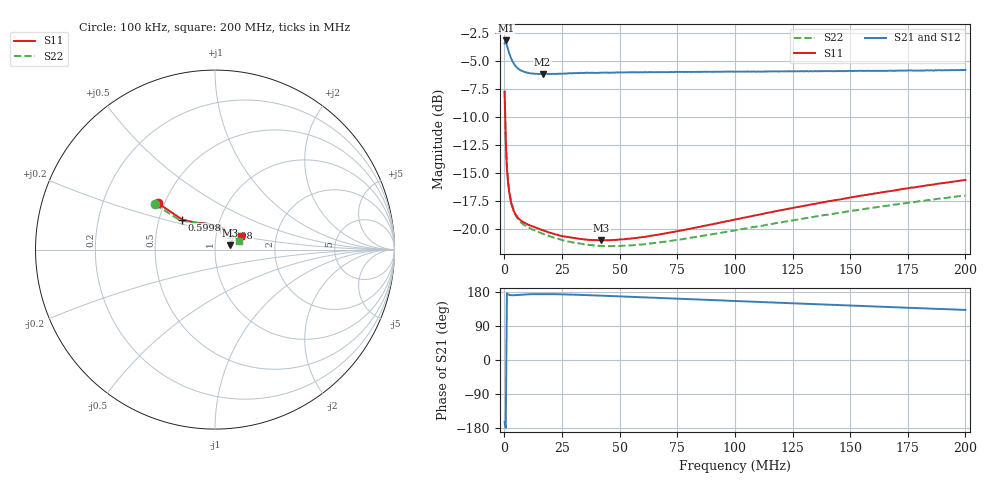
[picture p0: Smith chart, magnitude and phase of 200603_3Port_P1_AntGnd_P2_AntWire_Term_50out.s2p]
# MHz S RI R 50
! S-Parameters data
! Freq  reS11  imS11  reS21  imS21  reS12  imS12  reS22  imS22
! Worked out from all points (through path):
!   401 points, 100 kHz to 200 MHz, reference 50 ohm
!   highest |S21| = -3.13 dB at 599.8 kHz (marker M1); lowest = -6.1 dB at 16.59 MHz (marker M2)
!   lowest |S11| = -21.0 dB at 42.08 MHz (marker M3), VSWR 1.19, Z = 59.3 + j2.86 ohm
!   |S11| at or under -10 dB: 356.1 kHz to end of sweep
!   |S22| runs from -21.6 to -7.6 dB; largest |S21 - S12| = 0.012
!   S11 on the Smith chart (normalised r, x): 100 kHz: 0.46, +0.29; 599.8 kHz: 0.66, +0.23; 3.598 MHz: 1.03, +0.25; 200 MHz: 1.32, +0.21
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0.1  -0.3172 0.2586  -0.6483 -0.1924  -0.6501 -0.1811  -0.3325 0.2513
0.59975  -0.1827 0.1669  -0.6975 -0.0086  -0.6973 0.0037  -0.196 0.1641
1.0995  -0.1085 0.1504  -0.6593 0.0529  -0.6576 0.0651  -0.1201 0.1503
1.59925  -0.0649 0.1465  -0.6305 0.0754  -0.6288 0.0868  -0.0756 0.1472
2.099  -0.0323 0.1418  -0.6048 0.0859  -0.6032 0.0969  -0.0425 0.1435
2.59875  -0.00714 0.1355  -0.5846 0.0899  -0.583 0.1008  -0.0167 0.1378
3.0985  0.0126 0.1279  -0.5675 0.0904  -0.566 0.1006  0.00359 0.1306
3.59825  0.0282 0.1207  -0.5538 0.0892  -0.5518 0.0992  0.0199 0.1236
5.0975  0.0583 0.0987  -0.5257 0.0803  -0.5251 0.0899  0.0512 0.1017
6.097  0.0699 0.0865  -0.5151 0.0743  -0.5147 0.0838  0.0635 0.0895
7.59625  0.0805 0.0717  -0.5055 0.0665  -0.5047 0.0754  0.075 0.0745
11.59425  0.0917 0.0468  -0.4932 0.0543  -0.4935 0.063  0.0872 0.0488
16.59175  0.0933 0.0313  -0.4903 0.0506  -0.4908 0.0601  0.0894 0.0319
24.58775  0.0902 0.0223  -0.4912 0.0573  -0.4918 0.0667  0.0868 0.0208
33.58325  0.0873 0.0215  -0.4936 0.0723  -0.4931 0.0818  0.0836 0.0183
42.079  0.0853 0.024  -0.4925 0.0887  -0.491 0.0984  0.0815 0.0192
53.0735  0.085 0.0293  -0.4893 0.1117  -0.4872 0.1208  0.0808 0.0225
67.0665  0.0866 0.0368  -0.4832 0.1406  -0.4809 0.1498  0.0822 0.0277
100.05  0.0962 0.0529  -0.461 0.2079  -0.4574 0.2168  0.0905 0.0384
133.5333  0.1108 0.0656  -0.4283 0.2713  -0.4238 0.2793  0.1031 0.0454
167.0165  0.1275 0.0736  -0.3899 0.3299  -0.3832 0.3366  0.1177 0.0479
200  0.1461 0.0772  -0.3451 0.3817  -0.3378 0.3868  0.1329 0.0464
